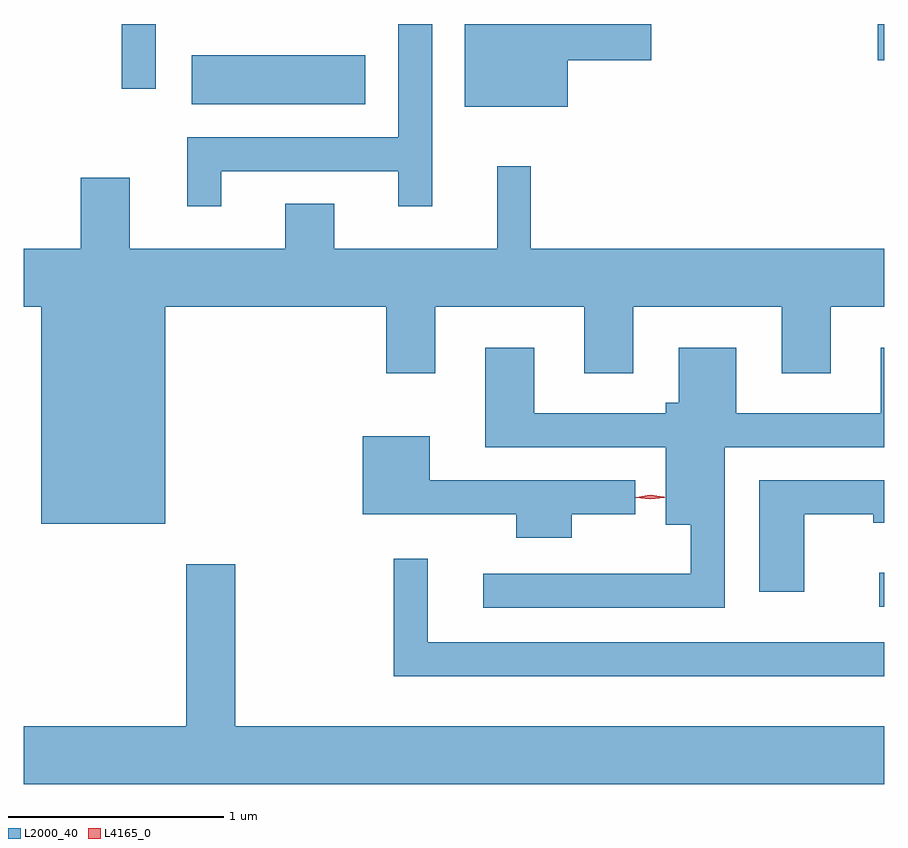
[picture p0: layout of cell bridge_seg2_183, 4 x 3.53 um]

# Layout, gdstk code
import gdstk
lib = gdstk.Library(unit=1e-6, precision=1e-09)
def R(c, l, rs):  # rectangles x0, y0, x1, y1
    for r in rs: c.add(gdstk.rectangle(r[:2], r[2:], *l))
def P(c, l, *ps):  # polygons
    for p in ps: c.add(gdstk.Polygon(p, *l))
L2000_40 = (2000, 40)
L4165_0 = (4165, 0)

bridge_seg2_183 = lib.new_cell('bridge_seg2_183')
R(bridge_seg2_183, L2000_40, [(799.333,1022.501,799.356,1022.659), (796.136,1024.836,796.944,1025.064), (795.811,1024.908,795.969,1025.21), (799.326,1025.041,799.356,1025.21)])
P(bridge_seg2_183, L2000_40, [(797.884,1025.041),(798.274,1025.041),(798.274,1025.21),(797.406,1025.21),(797.406,1024.826),(797.884,1024.826)],
  [(796.274,1024.526),(797.096,1024.526),(797.096,1024.363),(797.254,1024.363),(797.254,1025.21),(797.096,1025.21),(797.096,1024.684),(796.116,1024.684),(796.116,1024.363),(796.274,1024.363)],
  [(796.014,1023.896),(797.041,1023.896),(797.041,1023.586),(797.269,1023.586),(797.269,1023.896),(797.961,1023.896),(797.961,1023.586),(798.189,1023.586),(798.189,1023.896),(798.881,1023.896),(798.881,1023.586),(799.109,1023.586),(799.109,1023.896),(799.356,1023.896),(799.356,1024.164),(797.714,1024.164),(797.714,1024.548),(797.556,1024.548),(797.556,1024.164),(796.799,1024.164),(796.799,1024.374),(796.571,1024.374),(796.571,1024.164),(795.849,1024.164),(795.849,1024.494),(795.621,1024.494),(795.621,1024.164),(795.356,1024.164),(795.356,1023.896),(795.436,1023.896),(795.436,1022.886),(796.014,1022.886)],
  [(798.614,1023.241),(799.356,1023.241),(799.356,1023.704),(799.341,1023.704),(799.341,1023.399),(798.669,1023.399),(798.669,1023.704),(798.401,1023.704),(798.401,1023.449),(798.341,1023.449),(798.341,1023.399),(797.729,1023.399),(797.729,1023.704),(797.501,1023.704),(797.501,1023.241),(798.341,1023.241),(798.341,1022.881),(798.456,1022.881),(798.456,1022.654),(797.493,1022.654),(797.493,1022.496),(798.614,1022.496)],
  [(797.904,1022.931),(798.198,1022.931),(798.198,1023.089),(797.244,1023.089),(797.244,1023.294),(796.931,1023.294),(796.931,1022.931),(797.646,1022.931),(797.646,1022.821),(797.904,1022.821)],
  [(798.984,1022.931),(799.306,1022.931),(799.306,1022.891),(799.356,1022.891),(799.356,1023.089),(798.776,1023.089),(798.776,1022.571),(798.984,1022.571)],
  [(799.356,1022.334),(797.234,1022.334),(797.234,1022.723),(797.076,1022.723),(797.076,1022.176),(799.356,1022.176)],
  [(799.356,1021.944),(796.339,1021.944),(796.339,1022.699),(796.111,1022.699),(796.111,1021.944),(795.356,1021.944),(795.356,1021.676),(799.356,1021.676)])
P(bridge_seg2_183, L4165_0, [(798.268,1023.001),(798.203,1023.009),(798.203,1023.01),(798.203,1023.01),(798.268,1023.021),(798.332,1023.012),(798.333,1023.012),(798.332,1023.011)],
  [(798.268,1022.999),(798.2,1023.008),(798.2,1023.009),(798.2,1023.009),(798.268,1023.019),(798.336,1023.009),(798.337,1023.009),(798.336,1023.008)])

lib.write_gds('bridge_seg2_183.gds')
